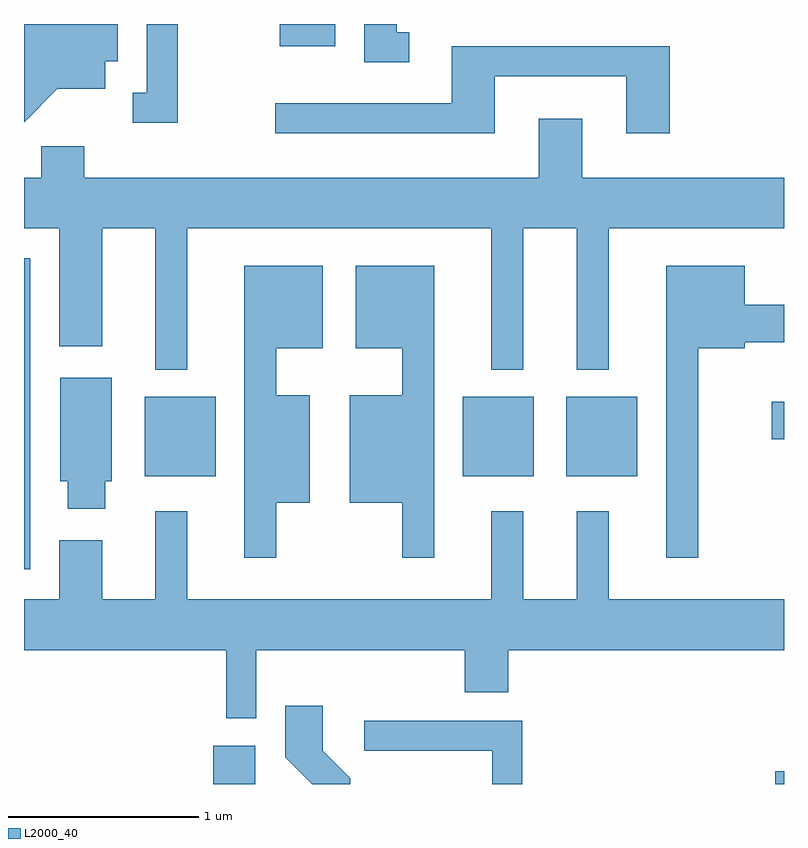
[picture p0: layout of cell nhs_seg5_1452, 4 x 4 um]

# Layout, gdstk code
import gdstk
lib = gdstk.Library(unit=1e-6, precision=1e-09)
def R(c, l, rs):  # rectangles x0, y0, x1, y1
    for r in rs: c.add(gdstk.rectangle(r[:2], r[2:], *l))
def P(c, l, *ps):  # polygons
    for p in ps: c.add(gdstk.Polygon(p, *l))
L2000_40 = (2000, 40)

nhs_seg5_1452 = lib.new_cell('nhs_seg5_1452')
R(nhs_seg5_1452, L2000_40, [(228.606,1476.072,228.829,1476.274), (231.566,1476.072,231.611,1476.139), (227.611,1477.201,227.644,1478.839), (228.246,1477.691,228.619,1478.109), (229.921,1477.691,230.294,1478.109), (230.466,1477.691,230.839,1478.109), (231.546,1477.886,231.611,1478.084), (228.956,1479.956,229.249,1480.072)])
P(nhs_seg5_1452, L2000_40, [(229.638,1480.029),(229.574,1480.029),(229.574,1480.072),(229.401,1480.072),(229.401,1479.871),(229.638,1479.871)],
  [(228.419,1480.072),(228.256,1480.072),(228.256,1479.709),(228.183,1479.709),(228.183,1479.551),(228.419,1479.551)],
  [(227.787,1479.731),(228.039,1479.731),(228.039,1479.876),(228.104,1479.876),(228.104,1480.072),(227.611,1480.072),(227.611,1479.555)],
  [(230.089,1479.796),(230.781,1479.796),(230.781,1479.496),(231.009,1479.496),(231.009,1479.954),(229.861,1479.954),(229.861,1479.654),(228.933,1479.654),(228.933,1479.496),(230.089,1479.496)],
  [(228.469,1478.996),(230.071,1478.996),(230.071,1478.253),(230.239,1478.253),(230.239,1478.996),(230.521,1478.996),(230.521,1478.253),(230.689,1478.253),(230.689,1478.996),(231.611,1478.996),(231.611,1479.264),(230.549,1479.264),(230.549,1479.574),(230.321,1479.574),(230.321,1479.264),(227.929,1479.264),(227.929,1479.429),(227.701,1479.429),(227.701,1479.264),(227.611,1479.264),(227.611,1478.996),(227.796,1478.996),(227.796,1478.376),(228.024,1478.376),(228.024,1478.996),(228.301,1478.996),(228.301,1478.253),(228.469,1478.253)],
  [(229.769,1478.799),(229.356,1478.799),(229.356,1478.366),(229.601,1478.366),(229.601,1478.119),(229.326,1478.119),(229.326,1477.551),(229.601,1477.551),(229.601,1477.263),(229.769,1477.263)],
  [(231.159,1478.366),(231.404,1478.366),(231.404,1478.396),(231.611,1478.396),(231.611,1478.594),(231.404,1478.594),(231.404,1478.799),(230.991,1478.799),(230.991,1477.263),(231.159,1477.263)],
  [(228.939,1477.551),(229.114,1477.551),(229.114,1478.119),(228.939,1478.119),(228.939,1478.366),(229.184,1478.366),(229.184,1478.799),(228.771,1478.799),(228.771,1477.263),(228.939,1477.263)],
  [(228.039,1477.666),(228.074,1477.666),(228.074,1478.209),(227.801,1478.209),(227.801,1477.666),(227.841,1477.666),(227.841,1477.521),(228.039,1477.521)],
  [(228.834,1476.776),(229.931,1476.776),(229.931,1476.556),(230.159,1476.556),(230.159,1476.776),(231.611,1476.776),(231.611,1477.044),(230.689,1477.044),(230.689,1477.508),(230.521,1477.508),(230.521,1477.044),(230.239,1477.044),(230.239,1477.508),(230.071,1477.508),(230.071,1477.044),(228.469,1477.044),(228.469,1477.508),(228.301,1477.508),(228.301,1477.044),(228.024,1477.044),(228.024,1477.354),(227.796,1477.354),(227.796,1477.044),(227.611,1477.044),(227.611,1476.776),(228.676,1476.776),(228.676,1476.418),(228.834,1476.418)],
  [(229.329,1476.102),(229.184,1476.247),(229.184,1476.484),(228.986,1476.484),(228.986,1476.214),(229.128,1476.072),(229.329,1476.072)],
  [(230.234,1476.404),(229.403,1476.404),(229.403,1476.246),(230.076,1476.246),(230.076,1476.072),(230.234,1476.072)])

lib.write_gds('nhs_seg5_1452.gds')
